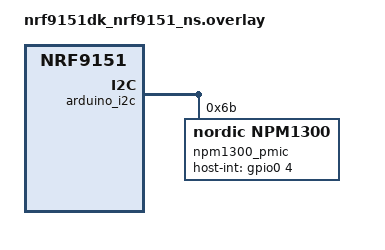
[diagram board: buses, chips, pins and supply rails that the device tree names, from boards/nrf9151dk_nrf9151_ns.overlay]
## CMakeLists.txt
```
cmake_minimum_required(VERSION 3.20.0)

find_package(Zephyr REQUIRED HINTS $ENV{ZEPHYR_BASE})
project(full_app_template)

# Application sources
target_sources(app PRIVATE
  src/main.c
  src/led.c
)

# ── cJSON include path ────────────────────────────────────────────────────────
target_include_directories(app PRIVATE
  ${ZEPHYR_CJSON_MODULE_DIR}
)
```

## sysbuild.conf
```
#
# Copyright (c) 2026 Conexio Technologies, Inc
#
# SPDX-License-Identifier: Apache-2.0
#

SB_CONFIG_BOOTLOADER_MCUBOOT=y

# The signing key path is set automatically by sysbuild.cmake relative to the
# SDK root — no hardcoded absolute path needed here.
# To use your own key, add:
#   SB_CONFIG_BOOT_SIGNATURE_KEY_FILE="/absolute/path/to/your-key.pem"
```

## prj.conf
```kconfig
# =============================================================================
# Conexio Advanced Sample App — prj.conf
#
# Most SDK dependencies (MQTT, modem, NTP, NVS, flash, FOTA subsystems,
# TLS, HTTP client, HWINFO, etc.) are auto-selected by CONFIG_CONEXIO_CLOUD
# via the SDK Kconfig. Only application-level overrides and options that
# have no SDK Kconfig equivalent are listed here.
# =============================================================================

# ── Enable Conexio Cloud SDK ───────────────────────────────────────────────────
CONFIG_CONEXIO_CLOUD=y

# ── CBOR binary encoding ───────────────────────────────────────────────────────
# CBOR (Concise Binary Object Representation) encodes the same telemetry data
# as compact binary instead of JSON text, reducing SIM data usage by 50–70%
# on LTE-M/NB-IoT connections.
CONFIG_CONEXIO_CLOUD_CBOR=y

# Static buffer for building each CBOR payload. 512 bytes fits all SDK
# auto-metrics plus ~10 application metrics. Increase if you have many
# metrics or long string values.
CONFIG_CONEXIO_CLOUD_CBOR_BUFFER_SIZE=512

# Telemetry publish interval in seconds. Valid range: 10–604800 (7 days).
# Increase for longer battery life.
CONFIG_CONEXIO_CLOUD_INTERVAL_SEC=60

# ── Power Saving Mode (PSM) ──────────────────────────────────────────────────
# PSM puts the modem into µA-level sleep between transmissions.
#
# INTERVAL_SEC and PSM_TAU_SEC are intentionally independent:
#   - INTERVAL_SEC controls how often the app publishes telemetry
#   - PSM_TAU_SEC is a hint to the network — the carrier will grant its own
#     TAU value regardless (AT&T LTE-M typically grants 3-4 hours minimum)
#
# The SDK handles this correctly: power_mgr_wake() times out after INTERVAL_SEC
# so the device reconnects and publishes on schedule even when TAU > INTERVAL.
# The modem stays in the T3324 active window between publishes when TAU > INTERVAL.
#
# For best battery life on production: set both to the same value and let the
# device sleep fully between cycles. The carrier-granted TAU sets the actual
# sleep duration (e.g. AT&T grants ~3.5h minimum on Band 13).
CONFIG_CONEXIO_CLOUD_PSM=y
# Request 1-hour TAU — network will grant its minimum (AT&T: ~3.5h on Band 13).
# INTERVAL_SEC and TAU are decoupled — device publishes at INTERVAL_SEC rate.
CONFIG_CONEXIO_CLOUD_PSM_TAU_SEC=3600
# Stay awake 30s after each TAU wake (T3324 active timer)
CONFIG_CONEXIO_CLOUD_PSM_ACTIVE_TIME_SEC=10

# Enable required LTE link control modules
CONFIG_LTE_LC_RAI_MODULE=y
CONFIG_LTE_PSM_REQ=y

## RAI
CONFIG_LTE_RAI_REQ=y

# ── Offline telemetry buffer ──────────────────────────────────────────────────
# Stores telemetry in flash when offline; replays to cloud on reconnect.
# 100 entries at 60s interval = ~100 minutes of offline coverage.
CONFIG_CONEXIO_CLOUD_OFFLINE_BUFFER=y
CONFIG_CONEXIO_CLOUD_OFFLINE_BUFFER_SIZE=100
CONFIG_CONEXIO_CLOUD_OFFLINE_REPLAY_BATCH=10

# ── FOTA — Firmware Over-the-Air updates ──────────────────────────────────────
CONFIG_CONEXIO_CLOUD_FOTA=y
# The actual timeout is controlled by 
# CONFIG_FOTA_DOWNLOAD_TIMEOUT_MS (NCS default: 600000 ms).
CONFIG_CONEXIO_CLOUD_FOTA_DOWNLOAD_TIMEOUT_SEC=300

# ── Device type ────────────────────────────────────────────────────────────────
# Reported as the _device_type auto-metric on every boot. The Conexio Cloud
# backend uses this to populate the device-type registry and enforce FOTA
# firmware-to-device type matching (only compatible binaries are dispatched
# to this device). Format: ^[a-z0-9_-]{2,32}$
CONFIG_CONEXIO_CLOUD_DEVICE_TYPE="nrf9151"

# Connection type reported as the _conn_type auto-metric on every boot.
# Used by Fleet Health to show the correct signal metrics for this hardware.
# Change when targeting non-LTE devices (e.g. "wifi", "ethernet").
CONFIG_CONEXIO_CLOUD_CONN_TYPE="lte"

# Conexio Cloud firmware download URLs carry a large query string (~1700 chars).
# NCS default DOWNLOADER_MAX_FILENAME_SIZE=255 truncates the URL → HTTP 403.
# No SDK Kconfig equivalent — must be set explicitly here.
CONFIG_DOWNLOADER_STACK_SIZE=2048
CONFIG_DOWNLOADER_MAX_FILENAME_SIZE=2048

# ── Retry / watchdog ──────────────────────────────────────────────────────────
# Exponential backoff reconnection: 5s → 10s → 20s → ... → 300s.
# After 5 consecutive failures the device reboots (catches modem hangs).
# Hardware watchdog fires after 600s if the SDK loop stalls.
CONFIG_CONEXIO_CLOUD_RETRY=y
CONFIG_CONEXIO_CLOUD_RETRY_BASE_SEC=5
CONFIG_CONEXIO_CLOUD_RETRY_MAX_SEC=300
CONFIG_CONEXIO_CLOUD_RETRY_MAX_ATTEMPTS=5
CONFIG_CONEXIO_CLOUD_WATCHDOG_TIMEOUT_SEC=600

# ── Modem info categories ─────────────────────────────────────────────────────
# MODEM_INFO itself is auto-selected by CONFIG_CONEXIO_CLOUD. These two NCS
# options (not in SDK Kconfig, default=n) enable additional metric groups:
#   ADD_NETWORK → _rssi, _snr, _cell_id, _tac, _lte_band, _operator
#   ADD_DEVICE  → _modem_fw, _modem_temp
CONFIG_MODEM_INFO_ADD_NETWORK=y
CONFIG_MODEM_INFO_ADD_DEVICE=y

# ── Battery voltage (_battery_mv) ─────────────────────────────────────────────
# Stratus Pro uses the nPM1300 fuel gauge for accurate battery voltage.
# The SDK handles this automatically when CONFIG_NRF_FUEL_GAUGE=y —
# no application code needed. The less accurate modem AT%XVBAT path is
# disabled here.
# To revert to modem ADC: set CONFIG_CONEXIO_CLOUD_AUTO_BATTERY=y and
# remove CONFIG_NRF_FUEL_GAUGE / CONFIG_CONEXIO_CLOUD_BATTERY_METRICS below.
CONFIG_CONEXIO_CLOUD_AUTO_BATTERY=n

# ── Battery health metrics (nPM1300 fuel gauge) ────────────────────────────────
# SDK automatically initialises the fuel gauge (CONFIG_NRF_FUEL_GAUGE=y) and
# samples at 1 Hz when LTE is active. On PSM sleep enter, nrf_fuel_gauge_idle_set()
# is called with CONFIG_CONEXIO_FUEL_GAUGE_PSM_SLEEP_CURRENT_UA — the library
# integrates the known sleep current internally with zero CPU wake-ups.
# Publishes to the diagnostics topic on every publish cycle:
#   _batt_soc      — state of charge in percent (0–100)
#   _batt_drain_hr — average drain rate in %/hour (discharge only)
#   _batt_mv       — battery terminal voltage in millivolts
CONFIG_CONEXIO_CLOUD_BATTERY_METRICS=y

# nPM1300 PMIC + nRF Fuel Gauge
CONFIG_REGULATOR=y
CONFIG_SENSOR=y
CONFIG_I2C=y
CONFIG_NRF_FUEL_GAUGE=y
CONFIG_NRF_FUEL_GAUGE_VARIANT_SECONDARY_CELL=y
CONFIG_REQUIRES_FLOAT_PRINTF=y
CONFIG_CBPRINTF_FP_SUPPORT=y

# Fuel gauge configuration
# Active LTE:  sample at 1 Hz per Nordic NAN-045 recommendation.
# PSM sleep:   no sampling — nrf_fuel_gauge_idle_set() is called on
#              MODEM_SLEEP_ENTER with the expected system quiescent current.
#              Set PSM_SLEEP_CURRENT_UA to your measured sleep current.
#              (nRF9151 ~2.5 µA + nPM13xx ~8 µA + misc ~10 µA ≈ 20 µA)
CONFIG_CONEXIO_FUEL_GAUGE_ACTIVE_RATE_MS=1000
CONFIG_CONEXIO_FUEL_GAUGE_PSM_SLEEP_CURRENT_UA=4
CONFIG_CONEXIO_FUEL_GAUGE_STACK_SIZE=2048

# ── GPIO ──────────────────────────────────────────────────────────────────────
# Required for LED_ON / LED_OFF command handlers (on-board LED, gpio0 pin 25).
CONFIG_GPIO=y

# ── C library ─────────────────────────────────────────────────────────────────
# Required alongside MQTT over TLS.
# POSIX_THREADS provides pthread_attr_t pulled in by date_time_modem.c.
CONFIG_POSIX_THREADS=y

# ── Stack / heap ──────────────────────────────────────────────────────────────
# Increase MAIN_STACK_SIZE if you see stack overflow crashes in main().
# Increase HEAP_MEM_POOL_SIZE if cJSON or FOTA job parsing fails with -ENOMEM.
CONFIG_MAIN_STACK_SIZE=8192
CONFIG_HEAP_MEM_POOL_SIZE=65536
CONFIG_SYSTEM_WORKQUEUE_STACK_SIZE=4096
CONFIG_CONEXIO_CLOUD_THREAD_STACK_SIZE=8192

# TF-M minimal profile (required for bootloader partition layout)
CONFIG_TFM_PROFILE_TYPE_MINIMAL=y

# ── Logging ───────────────────────────────────────────────────────────────────
# Level 3 = INF (ERR=1, WRN=2, INF=3, DBG=4).
# For production/low-power builds use low_power.conf (CONFIG_LOG=n).
CONFIG_LOG=y
CONFIG_LOG_DEFAULT_LEVEL=3
CONFIG_LOG_BUFFER_SIZE=4096
CONFIG_UART_CONSOLE=y

# ── Reset on fatal error ──────────────────────────────────────────────────────
# Level 2 = full register + stack dump on fault before reset.
# Ensures field devices recover from hard faults instead of hanging.
CONFIG_RESET_ON_FATAL_ERROR=y
CONFIG_FAULT_DUMP=2

# ── Cellular location (Cloud Location Service) ──────────────────────────────────
CONFIG_CELL_LOCATION=y

# How often to trigger a cell measurement, in seconds.
# Independent of the telemetry interval 
# Recommended values:
#   28800  (8 hours)  — 3 fixes/day, typical production field tracking  ← default
#   14400  (4 hours)  — 6 fixes/day, moderate tracking
CONFIG_CELL_LOCATION_INTERVAL_SEC=14400
```

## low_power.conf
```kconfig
#
# Copyright (c) 2026 Conexio Technologies, Inc.
#
# Low-power build overlay — disable serial logging and enable modem sleep
# event tracking so the device reaches µA-level sleep current between
# telemetry transmissions.
#
# Usage (build alongside prj.conf):
#   west build -b conexio_stratus_pro/nrf9151/ns -- \
#     -DEXTRA_CONF_FILE=low_power.conf
#
# What this overlay does:
#   1. Disables UART console → ~1-2 mA saving in active mode
#   2. Disables LOG subsystem → no formatting overhead, smaller binary
#   3. Enables LTE modem sleep module → power_mgr.c receives
#      LTE_LC_EVT_MODEM_SLEEP_ENTER / EXIT events so it can:
#        - set g_psm_sleeping = true (gate for power_mgr_is_psm_active)
#        - notify the nPM1300 fuel gauge to stop 1 Hz sampling during PSM
#        - give the modem_ready_sem so power_mgr_wake() unblocks cleanly
#   4. Enables LTE PSM module → power_mgr.c receives LTE_LC_EVT_PSM_UPDATE
#      events confirming the network-granted TAU/T3324 timers
#
# Without items 3 and 4, the modem hardware still enters PSM sleep but the
# SDK never knows:
#   - g_psm_sleeping stays false → power_mgr_is_psm_active() always false
#   - Fuel gauge keeps sampling at 1 Hz the entire sleep period (wasted)
#   - modem_ready_sem is never signalled → power_mgr_wake() always times out
#     instead of unblocking immediately when the modem wakes naturally
#
# Combined with the boards/conexio_stratus_pro_nrf9151_ns.overlay which
# deletes the UART RX pin to prevent floating-pin current leakage.
#

# ── LTE modem sleep event tracking ───────────────────────────────────────────
# Enables LTE_LC_EVT_MODEM_SLEEP_ENTER and LTE_LC_EVT_MODEM_SLEEP_EXIT events
# in the power_mgr.c LTE event handler. Required for:
#   - g_psm_sleeping flag (gates power_mgr_is_psm_active())
#   - Fuel gauge sleep/wake notifications (conexio_fuel_gauge_on_sleep_enter/exit)
#   - modem_ready_sem signalling so power_mgr_wake() unblocks on PSM exit
CONFIG_LTE_LC_MODEM_SLEEP_MODULE=y

# ── LTE PSM update events ─────────────────────────────────────────────────────
# Enables LTE_LC_EVT_PSM_UPDATE events so power_mgr.c can track whether the
# network has actually granted PSM (g_psm_active flag). Without this, the SDK
# cannot distinguish "PSM granted" from "PSM denied" at runtime.
CONFIG_LTE_LC_PSM_MODULE=y

# ── Disable serial console and logging ───────────────────────────────────────
CONFIG_SERIAL=n
CONFIG_UART_CONSOLE=n
CONFIG_LOG=n
```

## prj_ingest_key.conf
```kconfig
# =============================================================================
# prj_ingest_key.conf — Ingest Key authentication overlay
#
# Developer quick-connect: authenticate via MQTT Custom Authorizer
# without fleet-provisioned TLS certificates.
#
# Usage:
#   west build -b conexio_stratus_pro/nrf9151/ns --pristine \
#              -- -DEXTRA_CONF_FILE=prj_ingest_key.conf
#
# Steps before building:
#   1. Register the device IMEI in Conexio Console → All Devices → + Add Device
#      (The IMEI is printed on the hardware label or read via: AT+CGSN)
#   2. Get an ingest key from Conexio Console → Organization → Ingest Keys
#   3. Replace the placeholder key value below — that's it
#
# ⚠ WARNING: Replace the placeholder value before building.
#            Never commit a file containing a real ingest key to version control.
# =============================================================================

# ── Ingest Key ────────────────────────────────────────────────────────────────
# The only line you need to fill in.
# Paste the full key from Conexio Console → Organization → Ingest Keys.
# Format: cnx_<8chars>_<32chars>
CONFIG_CONEXIO_CLOUD_INGEST_KEY="ingest-key"
```

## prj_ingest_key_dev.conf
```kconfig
# =============================================================================
# prj_ingest_key_dev.conf — Ingest Key overlay for the DEV environment
#
# Apply on top of prj_ingest_key.conf for dev builds:
#   west build -b conexio_stratus_pro/nrf9151/ns --pristine \
#              -- -DEXTRA_CONF_FILE="prj_ingest_key.conf;prj_ingest_key_dev.conf"
#
# Steps:
#   1. Register the device IMEI in the dev console (d3lwq39x4chaqi.cloudfront.net)
#      → Device Manager → + Add Device
#   2. Get a dev ingest key from dev console → Organization → Ingest Keys
#   3. Set CONFIG_CONEXIO_CLOUD_INGEST_KEY in prj_ingest_key.conf (never commit it)
#   4. Build with BOTH overlays as shown above
#
# Why this file is needed:
#   ingest.mqtt.cloud.conexiotech.com is the PRODUCTION endpoint and routes to
#   ConexioIngestKeyAuthorizerProd. Dev ingest keys are validated by
#   ConexioIngestKeyAuthorizerDev which listens on a separate AWS-managed endpoint.
#   This overlay points the SDK at the dev domain config endpoint instead.
# =============================================================================

# Dev ingest endpoint — AWS-managed domain for conexio-ingest-dev domain config.
# This endpoint has ConexioIngestKeyAuthorizerDev attached which validates
# keys against iot-dashboard-ingest-keys-dev (dev DynamoDB table).
CONFIG_CONEXIO_CLOUD_INGEST_ENDPOINT="d04820601bybhat5l4fpv-ats.iot.us-east-1.amazonaws.com"
CONFIG_CONEXIO_CLOUD_INGEST_KEY="cnx_8498d4f8_9f238bd5abd95bcdf1d8c69c90f74eb5"
```

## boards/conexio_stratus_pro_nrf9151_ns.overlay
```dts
/*
 * Copyright (c) 2026 Conexio Technologies, Inc
 *
 * SPDX-License-Identifier: Apache-2.0
 *
 * Conexio Stratus Pro (nRF9151) overlay for the Conexio Cloud SDK full_app_template.
 *
 * Partition layout:
 *   nrf91_bootloader_partitions.dtsi — MCUboot + application slot layout
 *   nrf91_sram_partitions.dtsi       — NS SRAM partition definitions
 *
 * LED GPIO — inherited from conexio_stratus_pro_common.dtsi:
 *   led0 alias → gpio0 pin 25, GPIO_ACTIVE_HIGH
 *
 * nPM1300 fuel gauge — I2C pull-ups for pmic_charger on i2c2:
 *   The nPM1300 PMIC (npm1300@6b) and its pmic_charger node are defined
 *   in conexio_stratus_pro_common.dtsi. Only the i2c2 pin pull-up needs
 *   to be enabled here to reliably communicate with the PMIC over I2C.
 *
 * nPM1300 NTC — the Stratus Pro does not have a thermistor physically
 *   connected to the NTC pin. thermistor-ohms = <0> tells the driver
 *   (npm13xx_charger.c) to write CHGR_OFFSET_DIS_SET bit 1 = 1, which
 *   disables the NTC comparator. Without this the charger halts because
 *   it sees an open circuit on the NTC pin and reports garbage temperature.
 *
 * UART0 — low-power configuration:
 *   When building with low_power.conf (CONFIG_SERIAL=n / CONFIG_LOG=n),
 *   the UART RX pin is deleted to prevent current leakage through a
 *   floating or undriven RX line.
 */

#include <samples/cellular/nrf91_bootloader_partitions.dtsi>
#include <samples/cellular/nrf91_sram_partitions.dtsi>

/* Enable I2C pull-ups for nPM1300 PMIC communication */
&i2c2_default {
	group1 {
		bias-pull-up;
	};
};

/* nPM1300 charger — disable NTC (no thermistor populated on this board).
 * thermistor-ohms = <0> → driver sets thermistor_idx = 0 → automatically
 * writes CHGR_OFFSET_DIS_SET bit 1 at init (NTC comparator disabled).
 * thermistor-beta must be present (binding marks it required) but is
 * ignored by the driver when thermistor-ohms = 0. */
&pmic_charger {
	thermistor-ohms = <0>;
	thermistor-beta = <0>;
};

/* UART0 — delete RX pin to avoid floating-pin leakage in low-power builds */
&uart0 {
	status = "okay";
	current-speed = <115200>;
	/delete-property/ rx-pin;
};
```

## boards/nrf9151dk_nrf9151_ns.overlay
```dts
/*
 * Copyright (c) 2026 Nordic Semiconductor ASA
 *
 * SPDX-License-Identifier: LicenseRef-Nordic-5-Clause
 *
 * LED GPIO — inherited from nrf9151dk_nrf9151_common.dtsi:
 *   led0 alias → gpio0 pin 0, GPIO_ACTIVE_HIGH
 *   No LED overlay entry needed; the base DTS already provides the led0 alias.
 *
 * nPM1300-EK wiring on nRF9151DK Arduino headers:
 *   SDA  → Arduino A4 / P0.18  (i2c2, via arduino_i2c alias)
 *   SCL  → Arduino A5 / P0.19
 *   INTB → Arduino D4 / P0.04  (host-int-gpios)
 *   nPM1300 GPIO3 is configured as the INTB output (pmic-int-pin = 3)
 */

#include <samples/cellular/nrf91_bootloader_partitions.dtsi>
#include <samples/cellular/nrf91_sram_partitions.dtsi>
#include <zephyr/dt-bindings/regulator/npm13xx.h>

/* Enable I2C pull-ups for nPM1300 PMIC communication. */
&i2c2_default {
	group1 {
		bias-pull-up;
	};
};

/* nPM1300 PMIC via nPM1300-EK on Arduino I2C (address 0x6b).
 * Defines the pmic_charger label required by the Conexio Cloud SDK
 * fuel gauge (DEVICE_DT_GET(DT_NODELABEL(pmic_charger))).
 *
 * host-int-gpios: nPM1300-EK INTB → Arduino D4 → P0.04
 * pmic-int-pin:   nPM1300 GPIO3 is configured as INTB output
 *
 * NTC disabled (thermistor-ohms = <0>) — the nPM1300-EK thermistor header
 * may not have a thermistor connected; disabling prevents the charger
 * from halting on an open-circuit NTC reading. */
&arduino_i2c {
	npm1300_pmic: pmic@6b {
		compatible = "nordic,npm1300";
		reg = <0x6b>;
		host-int-gpios = <&gpio0 4 0>;
		pmic-int-pin = <3>;

		pmic_charger: charger {
			compatible = "nordic,npm1300-charger";
			term-microvolt = <4200000>;
			term-warm-microvolt = <4000000>;
			current-microamp = <150000>;
			dischg-limit-microamp = <1000000>;
			vbus-limit-microamp = <500000>;
			thermistor-ohms = <0>;
			thermistor-beta = <0>;
			charging-enable;
		};
	};
};
```

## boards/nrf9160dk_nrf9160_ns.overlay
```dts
/*
 * Copyright (c) 2026 Nordic Semiconductor ASA
 *
 * SPDX-License-Identifier: LicenseRef-Nordic-5-Clause
 *
 * LED GPIO — inherited from nrf9160dk_nrf9160_common.dtsi:
 *   led0 alias → gpio0 pin 2, active-high (no polarity flag)
 *   No LED overlay entry needed; the base DTS already provides the led0 alias.
 *
 * nPM1300-EK wiring on nRF9160DK Arduino headers:
 *   SDA  → Arduino A4 / P0.30  (i2c2, via arduino_i2c alias)
 *   SCL  → Arduino A5 / P0.31
 *   INTB → Arduino D4 / P0.04  (host-int-gpios)
 *   nPM1300 GPIO3 is configured as the INTB output (pmic-int-pin = 3)
 */

#include <samples/cellular/nrf91_bootloader_partitions.dtsi>
#include <samples/cellular/nrf91_sram_partitions.dtsi>
#include <zephyr/dt-bindings/regulator/npm13xx.h>

/* Enable I2C pull-ups for nPM1300 PMIC communication.
 * nRF9160DK arduino_i2c = &i2c2 (SDA: P0.30, SCL: P0.31). */
&i2c2_default {
	group1 {
		bias-pull-up;
	};
};

/* nPM1300 PMIC via nPM1300-EK expansion board (address 0x6b on Arduino I2C).
 * Defines pmic_charger label required by the Conexio Cloud SDK fuel gauge.
 *
 * NTC disabled (thermistor-ohms = <0>) — the nPM1300-EK thermistor header
 * may not have a thermistor connected. With thermistor-ohms = <0> the driver
 * writes CHGR_OFFSET_DIS_SET bit 1, disabling the NTC comparator so the
 * charger does not halt on an open-circuit NTC reading.
 * thermistor-beta is required by the binding but ignored when ohms = 0. */
&arduino_i2c {
	npm1300_pmic: pmic@6b {
		compatible = "nordic,npm1300";
		reg = <0x6b>;
		host-int-gpios = <&gpio0 4 0>;
		pmic-int-pin = <3>;

		pmic_charger: charger {
			compatible = "nordic,npm1300-charger";
			term-microvolt = <4200000>;
			term-warm-microvolt = <4000000>;
			current-microamp = <150000>;
			dischg-limit-microamp = <1000000>;
			vbus-limit-microamp = <500000>;
			thermistor-ohms = <0>;
			thermistor-beta = <0>;
			charging-enable;
		};
	};
};
```

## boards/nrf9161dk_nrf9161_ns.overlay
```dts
/*
 * Copyright (c) 2026 Nordic Semiconductor ASA
 *
 * SPDX-License-Identifier: LicenseRef-Nordic-5-Clause
 *
 * LED GPIO — inherited from nrf9161dk_nrf9161_common.dtsi:
 *   led0 alias → gpio0 pin 0, GPIO_ACTIVE_HIGH
 *   No LED overlay entry needed; the base DTS already provides the led0 alias.
 */

#include <samples/cellular/nrf91_bootloader_partitions.dtsi>
#include <samples/cellular/nrf91_sram_partitions.dtsi>
```

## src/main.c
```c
/*
 * Copyright (c) 2026 Conexio Technologies, Inc.
 *
 * SPDX-License-Identifier: Apache-2.0
 */

/*
 * main.c — Conexio Advanced Sample Application
 *
 *
 * ┌─────────────────────────────────────────────────────────────────────────┐
 * │  This is what an application built on conexio-cloud-sdk looks like.     │
 * │                                                                         │
 * │  The application provides:                                              │
 * │    1. Sensor reading callbacks (registered — SDK calls them)            │
 * │    2. Actuator command handlers (FAN_ON, FAN_OFF)                       │
 * │    3. OTA Config settings handlers (alertThreshold, debugMode)          │
 * │    4. Optional cloud event handler (status LED etc.)                    │
 * │    5. main(): register → init → wait_connected → sleep loop             │
 * │                                                                         │
 * │  The SDK provides everything else — no boilerplate needed:              │
 * │    REBOOT, SET_INTERVAL, FIRMWARE_UPDATE commands — built-in            │
 * │    telemetryIntervalSec setting — built-in                              │
 * │    Retry, WDT, PSM, offline buffer, FOTA — enabled via prj.conf         │
 * │    _rssi, _snr, _reboot_cnt, _battery_mv, _sdk_version — auto-metrics   │
 * │    _app_fw_version — auto-published from app VERSION file               │
 * │    conexio_cloud_register_interval(min, max) — Golioth-style            │
 * │                                                                         │
 * │  Payload encoding (set in prj.conf):                                    │
 * │    CONFIG_CONEXIO_CLOUD_CBOR=y  — CBOR binary (default, ~50-70%         │
 * │                                   smaller than JSON on LTE-M/NB-IoT)    │
 * │    CONFIG_CONEXIO_CLOUD_CBOR=n  — JSON text (backwards-compatible)      │
 * │                                                                         │
 * │  The application code is 100% encoding-agnostic.  The same main.c,      │
 * │  sensor callbacks, and metric names work for both JSON and CBOR.        │
 * │  The SDK and cloud backend handle all encoding/decoding transparently.  │
 * └─────────────────────────────────────────────────────────────────────────┘
 */

/*
 * ONE include for everything — the SDK umbrella header automatically
 * includes fota.h, offline_buffer.h, power_mgr.h, retry.h based on Kconfig.
 */
#include <conexio_cloud/conexio_cloud.h>

/* ── Ingest key mode build-time checks ───────────────────────────────────────
 * When CONFIG_CONEXIO_CLOUD_INGEST_KEY is set, the device authenticates via
 * MQTT Custom Authorizer instead of TLS client cert.
 *
 * The device ID is automatically read from the modem IMEI at boot —
 * CONFIG_CONEXIO_CLOUD_STATIC_DEVICE_ID is NOT required and is ignored
 * when ingest key mode is active.
 */
#if defined(CONFIG_CONEXIO_CLOUD_INGEST_KEY_ENABLED)
#  warning "Ingest key mode active — device ID is the modem IMEI (port 8883, domain config, no ALPN)"
#  if defined(CONFIG_CONEXIO_CLOUD_STATIC_DEVICE_ID_ENABLED) && \
      CONFIG_CONEXIO_CLOUD_STATIC_DEVICE_ID_ENABLED
#    warning "CONFIG_CONEXIO_CLOUD_STATIC_DEVICE_ID_ENABLED is set but has no effect in ingest key mode — IMEI is used automatically"
#  endif
#endif

#include <zephyr/kernel.h>
#include <zephyr/drivers/sensor.h>
#include <zephyr/random/random.h>
#include <zephyr/logging/log.h>

/* App firmware version from VERSION file — generated at build time */
#if __has_include(<app_version.h>)
#  include <app_version.h>
#else
#  define APP_VERSION_STRING "unknown"
#endif

/* Cellular location — collects CELLMEAS data for Conexio Location Service */
#if defined(CONFIG_CELL_LOCATION)
#include <conexio_cloud/cell_location.h>
#endif

#include "led.h"

LOG_MODULE_REGISTER(app, LOG_LEVEL_INF);

/* ── Application state ────────────────────────────────────────────────── */
static int  g_alert_threshold = 40;   /* temperature alert threshold (°C) */
static bool g_debug_mode      = false;
/* ── Telemetry interval limits ────────────────────────────────────────── */
#define TELEMETRY_INTERVAL_MIN_S    30       /* Fastest: 30 s — debug / development   */
#define TELEMETRY_INTERVAL_MAX_S    604800   /* Slowest: 7 days — ultra-low-power     */

/* ── Alert threshold limits ───────────────────────────────────────────── */
#define ALERT_THRESHOLD_MIN         0        /* 0 = disabled                           */
#define ALERT_THRESHOLD_MAX         200      /* Covers full sensor range               */

/* ── Sensor callbacks ─────────────────────────────────────────────────── */
/*
 * These are called by the SDK background thread before each publish.
 * Replace the stub returns with your actual Zephyr sensor driver calls:
 *
 *   static double read_temperature(void *arg) {
 *       struct sensor_value val;
 *       sensor_sample_fetch(temp_dev);
 *       sensor_channel_get(temp_dev, SENSOR_CHAN_AMBIENT_TEMP, &val);
 *       return sensor_value_to_double(&val);
 *   }
 *
 * Return NAN to skip a reading for a given cycle (sensor unavailable).
 */

#if defined(CONFIG_CONEXIO_SAMPLE_SIMULATED_SENSORS)
/*
 * ⚠ SIMULATED SENSORS — for development and demonstration only.
 *
 * These callbacks return random values. They are compiled only when
 * CONFIG_CONEXIO_SAMPLE_SIMULATED_SENSORS=y (default in prj.conf).
 *
 * To use real sensors:
 *   1. Set CONFIG_CONEXIO_SAMPLE_SIMULATED_SENSORS=n in prj.conf
 *   2. Replace these stubs with actual Zephyr sensor driver calls
 *
 * A build warning is emitted below as a reminder.
 */
#warning "Simulated sensor data is enabled (CONFIG_CONEXIO_SAMPLE_SIMULATED_SENSORS=y)." \
         " Replace with real sensor reads before deploying to production."

static double read_temperature(void *arg)
{
    ARG_UNUSED(arg);
    /* Simulated: random value in [22.0, 35.0] °C with 0.1 resolution */
    double temp = 22.0 + (double)(sys_rand32_get() % 131) * 0.1;

    /* Publish an alert if the temperature exceeds the configured threshold.
     * conexio_cloud_publish_alert() sends immediately to the dedicated
     * v1/devices/{id}/alerts topic — separate from the regular telemetry
     * interval — so the cloud can trigger SNS notifications in real time. */
    if (g_alert_threshold > 0 && temp >= (double)g_alert_threshold) {
        conexio_cloud_publish_alert("temperature", temp,
                                    (double)g_alert_threshold);
    }
    return temp;
}

static double read_humidity(void *arg)
{
    ARG_UNUSED(arg);
    /* Simulated: random value in [50.0, 80.0] % with 0.1 resolution */
    return 50.0 + (double)(sys_rand32_get() % 301) * 0.1;
}

#else
/*
 * Real sensor reads — implement these for your hardware.
 * Returning NAN skips the metric for that publish cycle.
 */
static double read_temperature(void *arg)
{
    ARG_UNUSED(arg);
    /* TODO: implement for your sensor hardware
     * Example (BME280 / SHT31 / etc.):
     *   struct sensor_value val;
     *   sensor_sample_fetch(temp_dev);
     *   sensor_channel_get(temp_dev, SENSOR_CHAN_AMBIENT_TEMP, &val);
     *   double temp = sensor_value_to_double(&val);
     *   if (g_alert_threshold > 0 && temp >= (double)g_alert_threshold) {
     *       conexio_cloud_publish_alert("temperature", temp,
     *                                   (double)g_alert_threshold);
     *   }
     *   return temp;
     */
    return (double)NAN;
}

static double read_humidity(void *arg)
{
    ARG_UNUSED(arg);
    /* TODO: implement for your sensor hardware */
    return (double)NAN;
}
#endif /* CONFIG_CONEXIO_SAMPLE_SIMULATED_SENSORS */

/* ── Command handlers — hardware-specific only ────────────────────────── */
/*
 * REBOOT, SET_INTERVAL, FIRMWARE_UPDATE are registered automatically by
 * the SDK.  Only add handlers here for YOUR hardware commands.
 */

static void on_fan_on(const char *payload_json, void *arg)
{
    ARG_UNUSED(payload_json); ARG_UNUSED(arg);
    /* Payload example: {"speed": 80} — the SDK passes the raw JSON string.
     * Parse with cJSON if you need the speed value. */
    LOG_INF("FAN_ON");
    /* TODO: gpio_pin_set(fan_dev, FAN_PIN, 1); */
}

static void on_fan_off(const char *payload_json, void *arg)
{
    ARG_UNUSED(payload_json); ARG_UNUSED(arg);
    LOG_INF("FAN_OFF");
    /* TODO: gpio_pin_set(fan_dev, FAN_PIN, 0); */
}

/* ── LED command handlers ─────────────────────────────────────────────── */
/*
 * LED_ON  — turns on the on-board LED (gpio0 pin 25, ACTIVE_HIGH).
 * LED_OFF — turns off the on-board LED.
 *
 * These commands are used to test Device Schedules from the Conexio Console:
 *   1. Create a schedule with command = LED_ON  (start time)
 *   2. Create a schedule with command = LED_OFF (end time, or separate schedule)
 * The Schedules executor publishes the command via MQTT to
 *   devices/{deviceId}/commands  (QoS 1)
 * and the SDK dispatches it here.
 */
static void on_led_on(const char *payload_json, void *arg)
{
	ARG_UNUSED(payload_json); ARG_UNUSED(arg);
	led_on(0);
	LOG_INF("LED_ON");
}

static void on_led_off(const char *payload_json, void *arg)
{
	ARG_UNUSED(payload_json); ARG_UNUSED(arg);
	led_off(0);
	/* Cancel the firmware watchdog -- stop command arrived from the cloud,
	 * so the autonomous timer is no longer needed. This prevents a duplicate
	 * LED_OFF from firing when the k_timer would have expired. */
	conexio_cloud_cancel_schedule_watchdog();
	LOG_INF("LED_OFF");
}

/* ── Schedule lifecycle callback ──────────────────────────────────────── */
/*
 * Called by the SDK for three events:
 *   STARTED  — cloud delivered LED_ON; firmware watchdog timer is now armed.
 *   STOPPED  — LED_OFF was fired by the firmware timer (device was offline).
 *   EXPIRED  — Device rebooted during LED_ON window; LED_OFF ran on boot.
 */
static void on_schedule(const struct conexio_schedule_event *evt)
{
    switch (evt->type) {
    case CONEXIO_SCHEDULE_EVT_STARTED:
        LOG_INF("Schedule watchdog armed — '%s' will fire autonomously at stopAt",
                evt->stop_command);
        break;
    case CONEXIO_SCHEDULE_EVT_STOPPED:
        LOG_INF("Schedule stopped autonomously — '%s' fired by firmware timer",
                evt->stop_command);
        break;
    case CONEXIO_SCHEDULE_EVT_EXPIRED:
        LOG_WRN("Schedule expired on boot — '%s' executed immediately",
                evt->stop_command);
        break;
    default:
        break;
    }
}

/* ── Settings handlers — app-specific keys only ───────────────────────── */
/*
 * telemetryIntervalSec is handled automatically by the SDK
 * (CONFIG_CONEXIO_CLOUD_AUTO_INTERVAL_SETTING=y).
 * Only register handlers for keys specific to your application.
 */

static enum conexio_setting_status on_alert_threshold(int32_t value, void *arg)
{
    ARG_UNUSED(arg);
    /* No range check needed — SDK validated against ALERT_THRESHOLD_MIN/MAX */
    g_alert_threshold = (int)value;
    LOG_INF("Setting: alertThreshold → %d", g_alert_threshold);
    return CONEXIO_SETTING_OK;
}

static enum conexio_setting_status on_debug_mode(bool value, void *arg)
{
    ARG_UNUSED(arg);
    g_debug_mode = value;
    LOG_INF("Setting: debugMode → %s", g_debug_mode ? "ON" : "OFF");
    return CONEXIO_SETTING_OK;
}

/* ── Cloud event handler — application reactions only ─────────────────── */
/*
 * The SDK handles all internal housekeeping before calling this:
 *   CONNECTED    → retry_on_success, buffer replay, fota_check_and_execute
 *   DISCONNECTED → retry_on_failure (with backoff)
 *   PUBLISHED    → power_mgr_sleep
 *   ERROR        → retry_on_failure
 *
 * Only add code here for app-level reactions (status LEDs, buzzer, etc.).
 * Pass NULL to conexio_cloud_init() if you have no app-level reactions.
 */
static void cloud_event_handler(const struct conexio_cloud_event *evt)
{
    switch (evt->type) {
    case CONEXIO_CLOUD_EVT_CONNECTED:
        LOG_INF("Connected — %s | App v%s | SDK v" CONEXIO_CLOUD_VERSION,
                conexio_cloud_device_id(), APP_VERSION_STRING);
        break;
    case CONEXIO_CLOUD_EVT_DISCONNECTED:
        LOG_WRN("Disconnected");
        break;
    case CONEXIO_CLOUD_EVT_PUBLISHED:
        LOG_DBG("Published");
        break;
    case CONEXIO_CLOUD_EVT_ERROR:
        LOG_ERR("Cloud error: %d", evt->data.error);
        break;
    default:
        break;
    }
}

/* ═══════════════════════════════════════════════════════════════════════════
 * main
 * ═══════════════════════════════════════════════════════════════════════════*/

int main(void)
{
    LOG_INF("=== Conexio Advanced Sample ===");
    LOG_INF("App v%s | SDK v" CONEXIO_CLOUD_VERSION, APP_VERSION_STRING);

	/* ── LED init ────────────────────────────────────────────────────────
	 * Configure the on-board LED as output, perform boot blink, then off.
	 * Must happen before conexio_cloud_init() so the LED is ready
	 * when the first LED_ON/LED_OFF command arrives.                     */
	int led_ret = led_init();
	if (led_ret != 0) {
		LOG_ERR("LED init failed (%d)", led_ret);
	}

    /* ── Register sensor callbacks ────────────────────────────────────
     * The SDK calls these before each publish — no send_metric in loop. */
    conexio_cloud_register_sensor("temperature", read_temperature, NULL);
    conexio_cloud_register_sensor("humidity",    read_humidity,    NULL);

    /* ── Register application commands ───────────────────────────────
     * SDK built-ins: REBOOT, SET_INTERVAL, FIRMWARE_UPDATE
     * LED_ON / LED_OFF are used with Device Schedules to test
     * timed command delivery from the Conexio Console.             */
    conexio_cloud_register_command("FAN_ON",  on_fan_on,  NULL);
    conexio_cloud_register_command("FAN_OFF", on_fan_off, NULL);
    conexio_cloud_register_command("LED_ON",  on_led_on,  NULL);
    conexio_cloud_register_command("LED_OFF", on_led_off, NULL);

    /* ── Register application settings ───────────────────────────────
     * SDK built-in: telemetryIntervalSec (CONFIG_AUTO_INTERVAL_SETTING)
     *
     * Use _with_range variants to declare valid limits as named constants.
     * The SDK validates incoming values before calling your handler —
     * no range check needed in the callback.                           */
    conexio_cloud_register_setting_int_with_range("alertThreshold",
                                                  ALERT_THRESHOLD_MIN,
                                                  ALERT_THRESHOLD_MAX,
                                                  on_alert_threshold, NULL);
    conexio_cloud_register_setting_bool("debugMode", on_debug_mode, NULL);

    /* ── Register telemetry interval with limits ──────────────────────
     * The SDK validates any SET_INTERVAL or telemetryIntervalSec OTA
     * Config push against these limits — no range check in your code.
     * Values must be within CONFIG_CONEXIO_CLOUD_INTERVAL_SEC range.  */
    conexio_cloud_register_interval(TELEMETRY_INTERVAL_MIN_S,
                                    TELEMETRY_INTERVAL_MAX_S);

    /* ── Register schedule lifecycle callback ─────────────────────────
     * Called when the firmware watchdog arms, fires, or runs on boot.
     * The SDK stores the stop command + stopAt in NVS so LED_OFF runs
     * even if the device loses connectivity after receiving LED_ON.   */
    conexio_cloud_register_schedule_cb(on_schedule);

    /* ── Register FOTA maintenance window callback (optional) ────────────
     * Return false to defer a firmware download until the device is in a
     * safe state. The SDK retries every CONFIG_FOTA_PAUSE_RETRY_SEC (60s).
     *
     * Example: uncomment and implement safe_to_update() for your hardware:
     *
     *   static bool safe_to_update(void) {
     *       return !motor_is_running() && !measurement_in_progress();
     *   }
     *   conexio_cloud_set_fota_can_start_cb(safe_to_update);
     *
     * Without this, FOTA downloads start immediately when commanded.      */

    /* ── Single SDK init — handles everything ─────────────────────────
     * LTE → NTP → PSM decision → config fetch → transport init →
     * FOTA check → cloud thread spawn                                 */
    int ret = conexio_cloud_init(cloud_event_handler);
    if (ret) {
        LOG_ERR("conexio_cloud_init failed (%d)", ret);
        return -1;
    }

    /* ── Wait for MQTT connection then do boot publish ────────────────
     * conexio_cloud_wait_connected() blocks until MQTT CONNACK arrives
     * (or times out).
     */
    LOG_INF("Waiting for Cloud connection...");
    if (conexio_cloud_wait_connected(60000) == 0) {
        LOG_INF("Boot publish — sending telemetry immediately after reset");
        /* Give the modem 2s to measure signal quality (RSRP) before publish */
        k_sleep(K_SECONDS(2));
        int pub_ret = conexio_cloud_publish();
        if (pub_ret) {
            LOG_WRN("Boot publish failed (%d) — will retry at next interval", pub_ret);
        }
    } else {
        LOG_WRN("Cloud connection timeout — skipping boot publish");
    }

#if defined(CONFIG_CELL_LOCATION)
    /* ── Cellular location init ───────────────────────────────────────
     * Registers the LTE LC event handler for AT%NCELLMEAS results.
     * Must run after LTE is connected (after conexio_cloud_init).
     *
     * No cell_location_request() on boot — the boot publish already sent
     * diagnostics once. The location k_work (PUBLISH_ON_FIX=y) only sends
     * the location topic, so periodic fixes are clean. The first measurement
     * fires automatically after CONFIG_CELL_LOCATION_INTERVAL_SEC seconds
     * via cell_location_tick() in the main loop below.                */
    cell_location_init();
#endif

    /* ── Main loop ────────────────────────────────────────────────────
     * The SDK background thread handles publishing, PSM, offline
     * buffering, reconnects, and FOTA. This loop just keeps main()
     * alive and wakes periodically to:
     *   - allow SET_INTERVAL / telemetryIntervalSec to take effect fast
     *   - call cell_location_tick() to drive the location interval
     *
     * Two sleep modes controlled by whether UART is enabled:
     *
     *   Debug builds (CONFIG_SERIAL=y, default prj.conf):
     *     5-second sleep — interval changes are responsive, useful during
     *     development. Higher CPU wake frequency is acceptable.
     *
     *   Low-power builds (CONFIG_SERIAL=n, built with low_power.conf):
     *     Full-interval sleep — CPU stays asleep for the entire publish
     *     interval instead of waking every 5 s. While the modem is in
     *     µA PSM sleep, the CPU waking at 5 s draws ~4-8 mA per cycle
     *     and prevents the device from ever reaching tens-of-µA total.
     *     Cell location ticks advance the full interval in one burst on
     *     wake — mathematically equivalent to the 1-per-second approach
     *     used in the debug path.                                      */
    while (1) {
#if defined(CONFIG_SERIAL)
        /* Debug / development build — responsive 5 s sleep */
        k_sleep(K_SECONDS(5));

#if defined(CONFIG_CELL_LOCATION)
        /* Advance the location interval countdown by 5 seconds.
         * cell_location_tick() fires cell_location_request() automatically
         * when CONFIG_CELL_LOCATION_INTERVAL_SEC seconds have elapsed.
         * No manual loop_count math needed — the SDK handles it.      */
        for (int i = 0; i < 5; i++) {
            cell_location_tick();
        }
#endif /* CONFIG_CELL_LOCATION */

#else  /* !CONFIG_SERIAL — low-power build with low_power.conf */
        /* Low-power build — sleep for the full publish interval.
         * Prevents the CPU from waking every 5 s and consuming ~4-8 mA
         * while the modem is in µA PSM sleep.                         */
        k_sleep(K_SECONDS(CONFIG_CONEXIO_CLOUD_INTERVAL_SEC));

#if defined(CONFIG_CELL_LOCATION)
        /* Advance cell location counter by the elapsed interval in one call.
         * cell_location_advance_seconds() adds the value directly to the
         * internal tick counter — O(1) vs the O(n) loop that calling
         * cell_location_tick() INTERVAL_SEC times would require.        */
        cell_location_advance_seconds(CONFIG_CONEXIO_CLOUD_INTERVAL_SEC);
#endif /* CONFIG_CELL_LOCATION */

#endif /* CONFIG_SERIAL */
    }

    return 0;
}
```
